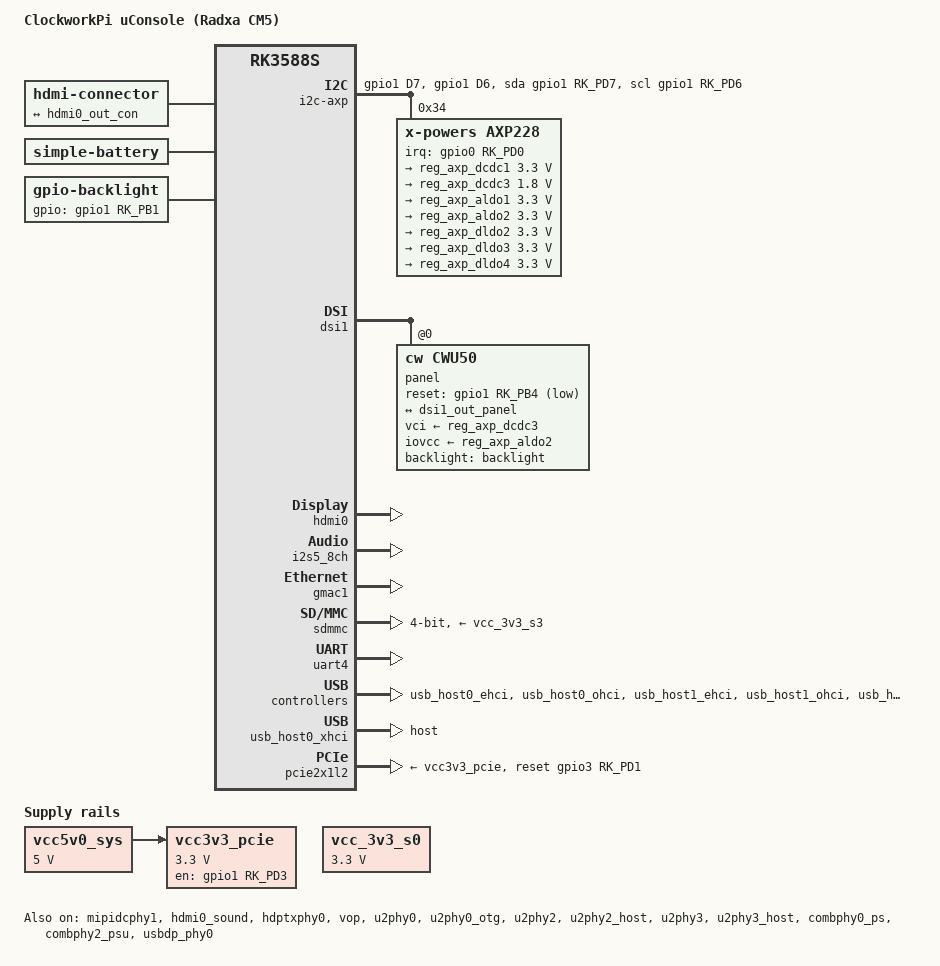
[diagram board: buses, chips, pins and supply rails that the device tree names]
// SPDX-License-Identifier: (GPL-2.0+ OR MIT)
/*
 * ClockworkPi uConsole with Radxa CM5 (RK3588S) — mainline Linux 7.1+
 *
 * Carrier definition for the uConsole mainboard (CM4-compatible socket)
 * hosting the Radxa CM5 module. Based on rk3588s-radxa-cm5-io.dts
 * (carrier reference) with uConsole-specific hardware:
 *
 *  - CWU50 MIPI-DSI panel (JD9365DA-H3): TXW500170B0 + TXW500170B0-BL
 *    on DSI1 via mipidcphy1, output through VOP2 VP2
 *  - AXP228 PMU on bit-banged I2C (CM4 ID_SD/ID_SC pins)
 *  - GPIO backlight (OCP8178 controlled as simple on/off for now)
 *  - UART4 (m2 pinmux) debug console on GPIO connector pins
 *  - HDMI kept enabled as debug/secondary output
 *
 * CM4 connector GPIO mapping (BCM → RK3588S):
 *   BCM0  PIN_27  GPIO1_D7  AXP228 I2C SDA
 *   BCM1  PIN_28  GPIO1_D6  AXP228 I2C SCL
 *   BCM2  PIN_3   GPIO0_D0  AXP228 IRQ (active-low)
 *   BCM8  PIN_24  GPIO1_B4  Panel RESX (revision detect: BL pulls LOW)
 *   BCM9  PIN_21  GPIO1_B1  Backlight enable (active-high)
 *   BCM10 PIN_19  GPIO1_B2  UART4 RX (m2)
 *   BCM11 PIN_23  GPIO1_B3  UART4 TX (m2)
 *
 * Debug serial: UART4 @ 1,500,000 baud (CP2102N/FT232H/CH343P required)
 *   host RX → PIN_23, host TX → PIN_19, GND → PIN_25
 */

/dts-v1/;

#include "rk3588s.dtsi"
#include "rk3588s-radxa-cm5.dtsi"
#include <dt-bindings/gpio/gpio.h>
#include <dt-bindings/interrupt-controller/irq.h>
#include <dt-bindings/pinctrl/rockchip.h>
#include <dt-bindings/soc/rockchip,vop2.h>

/ {
	model = "ClockworkPi uConsole (Radxa CM5)";
	compatible = "clockworkpi,uconsole-cm5", "radxa,cm5",
		     "rockchip,rk3588s";

	aliases {
		ethernet0 = &gmac1;
		mmc1 = &sdmmc;
	};

	chosen {
		stdout-path = "serial4:1500000n8";
	};

	/* HDMI debug/secondary output (works on uConsole via hw mod or
	 * HackerGadgets adapter breakout) */
	hdmi-con {
		compatible = "hdmi-connector";
		type = "a";

		port {
			hdmi_con_in: endpoint {
				remote-endpoint = <&hdmi0_out_con>;
			};
		};
	};

	/* Carrier power rails */
	vcc5v0_sys: regulator-5v0-sys {
		compatible = "regulator-fixed";
		regulator-name = "vcc5v0_sys";
		regulator-always-on;
		regulator-boot-on;
		regulator-min-microvolt = <5000000>;
		regulator-max-microvolt = <5000000>;
	};

	vcc_3v3_s0: regulator-3v3-s0 {
		compatible = "regulator-fixed";
		regulator-name = "vcc_3v3_s0";
		regulator-always-on;
		regulator-boot-on;
		regulator-min-microvolt = <3300000>;
		regulator-max-microvolt = <3300000>;
	};

	/* PCIe 3.3V for the HackerGadgets NVMe board. On the Radxa CM5-IO
	 * reference this rail is gated via GPIO1_D3 (a CM4-socket signal);
	 * mirrored here. If the HackerGadgets board powers the M.2 slot
	 * directly, the enable line is unconnected — harmless either way. */
	vcc3v3_pcie: regulator-3v3-pcie {
		compatible = "regulator-fixed";
		regulator-name = "vcc3v3_pcie";
		regulator-min-microvolt = <3300000>;
		regulator-max-microvolt = <3300000>;
		enable-active-high;
		gpios = <&gpio1 RK_PD3 GPIO_ACTIVE_HIGH>;
		startup-delay-us = <50000>;
		regulator-boot-on;
		regulator-always-on;
		vin-supply = <&vcc5v0_sys>;
	};

	/* AXP228 PMU on uConsole mainboard — bit-banged I2C on
	 * CM4 ID_SD/ID_SC (GPIO1_D7 = SDA, GPIO1_D6 = SCL) */
	i2c-axp {
		compatible = "i2c-gpio";
		sda-gpios = <&gpio1 RK_PD7 (GPIO_ACTIVE_HIGH | GPIO_OPEN_DRAIN)>;
		scl-gpios = <&gpio1 RK_PD6 (GPIO_ACTIVE_HIGH | GPIO_OPEN_DRAIN)>;
		i2c-gpio,delay-us = <5>;
		#address-cells = <1>;
		#size-cells = <0>;
		pinctrl-names = "default";
		pinctrl-0 = <&uc_i2c_axp_pins>;

		axp228: pmic@34 {
			compatible = "x-powers,axp228", "x-powers,axp223",
				     "x-powers,axp221";
			reg = <0x34>;
			interrupt-parent = <&gpio0>;
			interrupts = <RK_PD0 IRQ_TYPE_LEVEL_LOW>;
			interrupt-controller;
			#interrupt-cells = <1>;
			pinctrl-names = "default";
			pinctrl-0 = <&uc_axp_irq_pin>;

			regulators {
				x-powers,dcdc-freq = <3000>;

				reg_axp_dcdc1: dcdc1 {
					regulator-name = "axp-sys-3v3";
					regulator-always-on;
					regulator-boot-on;
					regulator-min-microvolt = <3300000>;
					regulator-max-microvolt = <3300000>;
				};

				/* Panel vci (1.8V digital I/O) */
				reg_axp_dcdc3: dcdc3 {
					regulator-name = "axp-sys-1v8";
					regulator-always-on;
					regulator-boot-on;
					regulator-min-microvolt = <1800000>;
					regulator-max-microvolt = <1800000>;
				};

				reg_axp_aldo1: aldo1 {
					regulator-name = "axp-audio-3v3";
					regulator-always-on;
					regulator-min-microvolt = <3300000>;
					regulator-max-microvolt = <3300000>;
				};

				/* Panel iovcc (3.3V display VCC) */
				reg_axp_aldo2: aldo2 {
					regulator-name = "axp-disp-3v3";
					regulator-min-microvolt = <3300000>;
					regulator-max-microvolt = <3300000>;
				};

				reg_axp_dldo2: dldo2 {
					regulator-name = "axp-ext-3v3-a";
					regulator-always-on;
					regulator-min-microvolt = <3300000>;
					regulator-max-microvolt = <3300000>;
				};

				reg_axp_dldo3: dldo3 {
					regulator-name = "axp-ext-3v3-b";
					regulator-always-on;
					regulator-min-microvolt = <3300000>;
					regulator-max-microvolt = <3300000>;
				};

				reg_axp_dldo4: dldo4 {
					regulator-name = "axp-ext-3v3-c";
					regulator-always-on;
					regulator-min-microvolt = <3300000>;
					regulator-max-microvolt = <3300000>;
				};
			};

			battery_power_supply: battery-power-supply {
				compatible = "x-powers,axp221-battery-power-supply";
				monitored-battery = <&battery>;
			};

			ac_power_supply: ac-power-supply {
				compatible = "x-powers,axp221-ac-power-supply";
			};

			axp_adc: adc {
				compatible = "x-powers,axp221-adc";
				#io-channel-cells = <1>;
			};
		};
	};

	/* 2× 18650, 3350 mAh each, parallel */
	battery: battery {
		compatible = "simple-battery";
		device-chemistry = "lithium-ion";
		constant-charge-current-max-microamp = <2100000>;
		voltage-max-design-microvolt = <4200000>;
		re-charge-voltage-microvolt = <4000000>;
		voltage-min-design-microvolt = <2900000>;
		energy-full-design-microwatt-hours = <24790000>;
		charge-full-design-microamp-hours = <6700000>;
	};

	/* Backlight: simple GPIO on/off for bringup.
	 * TODO: port ocp8178 driver for 8-step brightness. */
	backlight: backlight {
		compatible = "gpio-backlight";
		gpios = <&gpio1 RK_PB1 GPIO_ACTIVE_HIGH>;
		default-on;
		pinctrl-names = "default";
		pinctrl-0 = <&uc_backlight_pin>;
	};
};

/* ---------------- Display: CWU50 panel on DSI1 → VP2 ---------------- */

&dsi1 {
	status = "okay";
	#address-cells = <1>;
	#size-cells = <0>;

	panel@0 {
		compatible = "cw,cwu50";
		reg = <0>;

		/* Read as INPUT at probe for revision detect:
		 * LOW = TXW500170B0-BL (new), HIGH = original.
		 * Confirmed via RDID1 (0x39 = new) in prepare(). */
		reset-gpios = <&gpio1 RK_PB4 GPIO_ACTIVE_LOW>;

		backlight = <&backlight>;
		rotation = <90>;

		vci-supply = <&reg_axp_dcdc3>;
		iovcc-supply = <&reg_axp_aldo2>;

		pinctrl-names = "default";
		pinctrl-0 = <&uc_panel_reset_pin>;

		port {
			panel_in_dsi1: endpoint {
				remote-endpoint = <&dsi1_out_panel>;
			};
		};
	};
};

&dsi1_in {
	dsi1_in_vp3: endpoint {
		remote-endpoint = <&vp3_out_dsi1>;
	};
};

&dsi1_out {
	dsi1_out_panel: endpoint {
		remote-endpoint = <&panel_in_dsi1>;
	};
};

&mipidcphy1 {
	status = "okay";
};

/* VP3 drives the panel — mirrors mainline rk3588s-gameforce-ace.dts,
 * which runs a larger 1080x1920 DSI panel through VP3. */
&vp3 {
	vp3_out_dsi1: endpoint@ROCKCHIP_VOP2_EP_MIPI1 {
		reg = <ROCKCHIP_VOP2_EP_MIPI1>;
		remote-endpoint = <&dsi1_in_vp3>;
	};
};

/* ---------------- HDMI debug output on VP0 ---------------- */

&hdmi0 {
	status = "okay";
};

&hdmi0_in {
	hdmi0_in_vp0: endpoint {
		remote-endpoint = <&vp0_out_hdmi0>;
	};
};

&hdmi0_out {
	hdmi0_out_con: endpoint {
		remote-endpoint = <&hdmi_con_in>;
	};
};

&hdmi0_sound {
	status = "okay";
};

&hdptxphy0 {
	status = "okay";
};

&i2s5_8ch {
	status = "okay";
};

&vp0 {
	vp0_out_hdmi0: endpoint@ROCKCHIP_VOP2_EP_HDMI0 {
		reg = <ROCKCHIP_VOP2_EP_HDMI0>;
		remote-endpoint = <&hdmi0_in_vp0>;
	};
};

/* ---------------- Core peripherals ---------------- */

&vop {
	status = "okay";
};

&vop_mmu {
	status = "okay";
};

&gmac1 {
	status = "okay";
};

&sdmmc {
	bus-width = <4>;
	cap-mmc-highspeed;
	cap-sd-highspeed;
	disable-wp;
	no-sdio;
	sd-uhs-sdr104;
	pinctrl-names = "default";
	pinctrl-0 = <&sdmmc_bus4 &sdmmc_clk &sdmmc_cmd &sdmmc_det>;
	vmmc-supply = <&vcc_3v3_s3>;
	vqmmc-supply = <&vccio_sd_s0>;
	status = "okay";
};

/* UART4 m2: RX=GPIO1_B2 (PIN_19), TX=GPIO1_B3 (PIN_23) */
&uart4 {
	pinctrl-names = "default";
	pinctrl-0 = <&uart4m2_xfer>;
	status = "okay";
};

/* USB */
&u2phy0 {
	status = "okay";
};

&u2phy0_otg {
	status = "okay";
};

&u2phy2 {
	status = "okay";
};

&u2phy2_host {
	status = "okay";
};

&u2phy3 {
	status = "okay";
};

&u2phy3_host {
	status = "okay";
};

/* PHYs required by the two dwc3 controllers — without these,
 * fc000000.usb and fcd00000.usb defer probe forever
 * ("dwc3: failed to initialize core"). */
&combphy0_ps {
	status = "okay";
};

&combphy2_psu {
	status = "okay";
};

&usbdp_phy0 {
	status = "okay";
};

&usb_host0_ehci {
	status = "okay";
};

&usb_host0_ohci {
	status = "okay";
};

&usb_host0_xhci {
	/* Host, not OTG: no Type-C role-switch hardware on the uConsole,
	 * and the internal keyboard hub hangs off this port.
	 * Gadget/CDC-ACM experiments can revisit this later. */
	dr_mode = "host";
	status = "okay";
};

&usb_host1_ehci {
	status = "okay";
};

&usb_host1_ohci {
	status = "okay";
};

&usb_host2_xhci {
	status = "okay";
};

/* PCIe x1 on the CM4-socket lane → HackerGadgets NVMe board.
 * PERST# routing (GPIO3_D1) is module-side, same as the CM5-IO board,
 * so it applies regardless of carrier. combphy0_ps (the PCIe PHY) is
 * already enabled above. */
&pcie2x1l2 {
	reset-gpios = <&gpio3 RK_PD1 GPIO_ACTIVE_HIGH>;
	vpcie3v3-supply = <&vcc3v3_pcie>;
	status = "okay";
};

/* PCIe SMMU: unused on the uConsole (no PCIe) and its shutdown handler
 * hangs reboot/poweroff — RK3588 MMU600 wired-IRQ erratum territory.
 * Disabling it lets device_shutdown() complete cleanly. */
&mmu600_pcie {
	status = "disabled";
};

/* ---------------- Pinctrl ---------------- */

&pinctrl {
	uconsole {
		uc_i2c_axp_pins: uc-i2c-axp-pins {
			rockchip,pins =
				<1 RK_PD7 RK_FUNC_GPIO &pcfg_pull_none>,
				<1 RK_PD6 RK_FUNC_GPIO &pcfg_pull_none>;
		};

		uc_axp_irq_pin: uc-axp-irq-pin {
			rockchip,pins = <0 RK_PD0 RK_FUNC_GPIO &pcfg_pull_up>;
		};

		uc_panel_reset_pin: uc-panel-reset-pin {
			rockchip,pins = <1 RK_PB4 RK_FUNC_GPIO &pcfg_pull_none>;
		};

		uc_backlight_pin: uc-backlight-pin {
			rockchip,pins = <1 RK_PB1 RK_FUNC_GPIO &pcfg_pull_none>;
		};
	};
};
